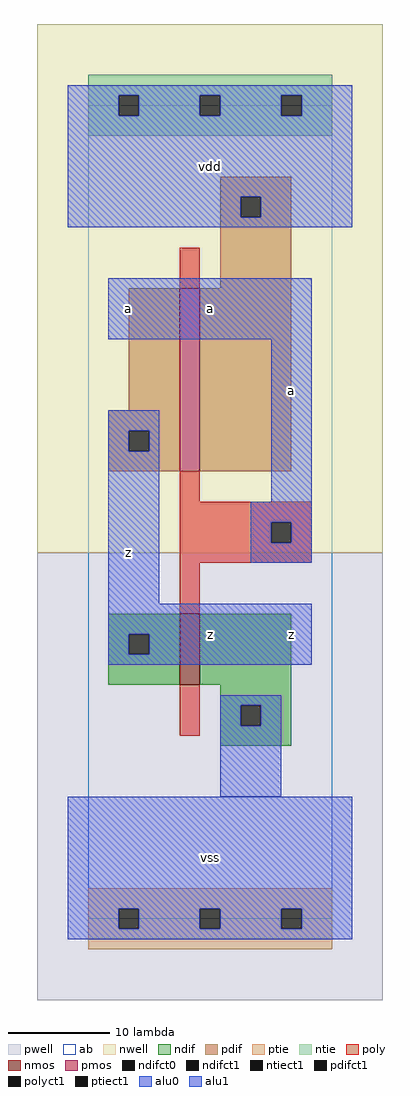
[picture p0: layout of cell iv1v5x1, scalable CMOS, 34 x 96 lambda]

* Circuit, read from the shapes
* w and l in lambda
.subckt iv1v5x1 a vdd vss z
M1 vss a z vss nfet w=7 l=2
M2 vdd a z vdd pfet w=18 l=2
.ends

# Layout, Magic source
magic
tech scmos
<< ab >>
rect 0 0 24 80
<< nwell >>
rect -5 36 29 88
<< pwell >>
rect -5 -8 29 36
<< poly >>
rect 9 62 11 66
rect 9 41 11 44
rect 9 39 22 41
rect 9 37 18 39
rect 20 37 22 39
rect 9 35 22 37
rect 9 30 11 35
rect 9 18 11 23
<< ndif >>
rect 2 28 9 30
rect 2 26 4 28
rect 6 26 9 28
rect 2 23 9 26
rect 11 23 20 30
rect 13 21 20 23
rect 13 19 15 21
rect 17 19 20 21
rect 13 17 20 19
<< pdif >>
rect 13 71 20 73
rect 13 69 15 71
rect 17 69 20 71
rect 13 62 20 69
rect 4 50 9 62
rect 2 48 9 50
rect 2 46 4 48
rect 6 46 9 48
rect 2 44 9 46
rect 11 44 20 62
<< alu1 >>
rect -2 81 26 82
rect -2 79 3 81
rect 5 79 11 81
rect 13 79 19 81
rect 21 79 26 81
rect -2 71 26 79
rect -2 69 15 71
rect 17 69 26 71
rect -2 68 26 69
rect 2 57 22 63
rect 2 48 7 50
rect 2 46 4 48
rect 6 46 7 48
rect 2 31 7 46
rect 18 41 22 57
rect 16 39 22 41
rect 16 37 18 39
rect 20 37 22 39
rect 16 35 22 37
rect 2 28 22 31
rect 2 26 4 28
rect 6 26 22 28
rect 2 25 22 26
rect -2 1 26 12
rect -2 -1 3 1
rect 5 -1 11 1
rect 13 -1 19 1
rect 21 -1 26 1
rect -2 -2 26 -1
<< ptie >>
rect 0 1 24 3
rect 0 -1 3 1
rect 5 -1 11 1
rect 13 -1 19 1
rect 21 -1 24 1
rect 0 -3 24 -1
<< ntie >>
rect 0 81 24 83
rect 0 79 3 81
rect 5 79 11 81
rect 13 79 19 81
rect 21 79 24 81
rect 0 77 24 79
<< nmos >>
rect 9 23 11 30
<< pmos >>
rect 9 44 11 62
<< polyct1 >>
rect 18 37 20 39
<< ndifct0 >>
rect 15 19 17 21
<< ndifct1 >>
rect 4 26 6 28
<< ntiect1 >>
rect 3 79 5 81
rect 11 79 13 81
rect 19 79 21 81
<< ptiect1 >>
rect 3 -1 5 1
rect 11 -1 13 1
rect 19 -1 21 1
<< pdifct1 >>
rect 15 69 17 71
rect 4 46 6 48
<< alu0 >>
rect 13 21 19 22
rect 13 19 15 21
rect 17 19 19 21
rect 13 12 19 19
<< labels >>
rlabel alu1 4 36 4 36 6 z
rlabel alu1 4 60 4 60 6 a
rlabel alu1 12 6 12 6 6 vss
rlabel alu1 12 28 12 28 6 z
rlabel alu1 12 60 12 60 6 a
rlabel alu1 12 74 12 74 6 vdd
rlabel alu1 20 28 20 28 6 z
rlabel alu1 20 52 20 52 6 a
<< end >>
